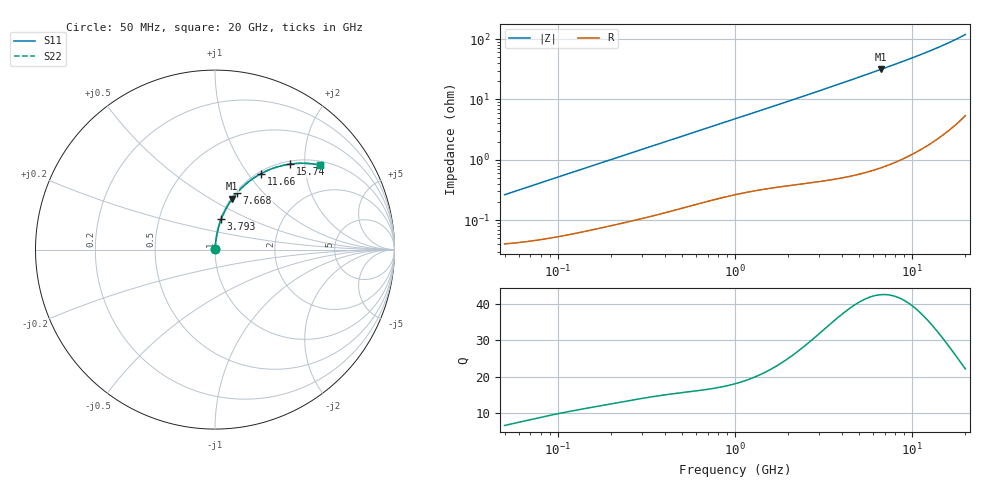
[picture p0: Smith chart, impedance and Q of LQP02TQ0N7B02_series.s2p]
!Murata Part Number: LQP02TQ0N7B02
!These Parameters are Measured in Series Mode Connection
!  o--[Z]--o
!Port1  Port2
!  o-------o
!Freq. Start=50[MHz] Stop=20[GHz], 401[Steps]
# Hz S RI R 50
!Freq.(Hz) S11(Real) S11(Imag) S21(Real) S21(Imag) S12(Real) S12(Imag) S22(Real) S22(Imag)
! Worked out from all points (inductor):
!   401 points, 50 MHz to 20 GHz, reference 50 ohm
!   read as one part in series: L = 827 pH near 51.52 MHz
!   highest Q = 42.7 at 6.701 GHz (marker M1), where L = 749 pH
!   S11 on the Smith chart (normalised r, x): 50 MHz: 1.00, +0.01; 3.793 GHz: 1.01, +0.35; 7.668 GHz: 1.02, +0.73; 11.66 GHz: 1.03, +1.16; 15.74 GHz: 1.06, +1.68; 20 GHz: 1.11, +2.38
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5e7  0.00041 0.00261  0.9996 -0.00261  0.9996 -0.00261  0.00041 0.00261
5.152053e7  0.000414 0.00268  0.9996 -0.00268  0.9996 -0.00268  0.000414 0.00268
1.364002e8  0.000682 0.00695  0.9993 -0.00695  0.9993 -0.00695  0.000682 0.00695
3.721004e8  0.00158 0.0183  0.9984 -0.0183  0.9984 -0.0183  0.00158 0.0183
6.380365e8  0.00284 0.0307  0.9972 -0.0307  0.9972 -0.0307  0.00284 0.0307
1e9  0.00486 0.0471  0.9951 -0.0471  0.9951 -0.0471  0.00486 0.0471
1.714689e9  0.00977 0.0789  0.9902 -0.0789  0.9902 -0.0789  0.00977 0.0789
2.728004e9  0.0197 0.1235  0.9803 -0.1235  0.9803 -0.1235  0.0197 0.1235
3.792786e9  0.0344 0.1691  0.9656 -0.1691  0.9656 -0.1691  0.0344 0.1691
5.194772e9  0.0604 0.2263  0.9396 -0.2263  0.9396 -0.2263  0.0604 0.2263
6.701223e9  0.096 0.2832  0.904 -0.2832  0.904 -0.2832  0.096 0.2832
7.442007e9  0.1162 0.309  0.8838 -0.309  0.8838 -0.309  0.1162 0.309
7.668323e9  0.1227 0.3166  0.8773 -0.3166  0.8773 -0.3166  0.1227 0.3166
8.644534e9  0.1524 0.3476  0.8476 -0.3476  0.8476 -0.3476  0.1524 0.3476
9.600142e9  0.1837 0.375  0.8163 -0.375  0.8163 -0.375  0.1837 0.375
1.066139e10  0.2207 0.4019  0.7793 -0.4019  0.7793 -0.4019  0.2207 0.4019
1.166392e10  0.2575 0.4238  0.7425 -0.4238  0.7425 -0.4238  0.2575 0.4238
1.354865e10  0.3301 0.4554  0.6699 -0.4554  0.6699 -0.4554  0.3301 0.4554
1.573793e10  0.4171 0.4762  0.5829 -0.4762  0.5829 -0.4762  0.4171 0.4762
1.774144e10  0.4964 0.4809  0.5036 -0.4809  0.5036 -0.4809  0.4964 0.4809
1.940974e10  0.5604 0.4751  0.4396 -0.4751  0.4396 -0.4751  0.5604 0.4751
2e10  0.5824 0.4711  0.4176 -0.4711  0.4176 -0.4711  0.5824 0.4711
